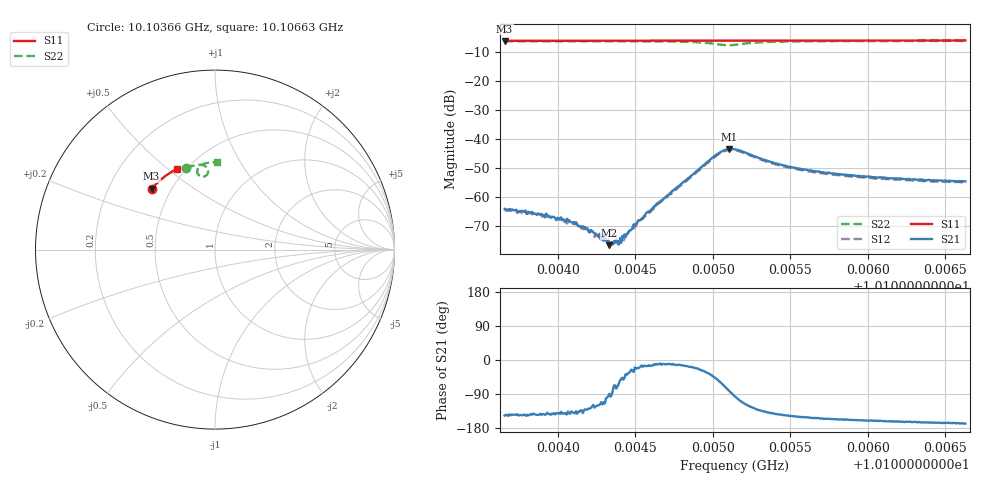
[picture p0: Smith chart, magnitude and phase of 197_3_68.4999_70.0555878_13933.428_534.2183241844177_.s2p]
#  HZ  S  RI  R  50.00
! Rohde & Schwarz Vector Network Analyzer
! Rohde-Schwarz,ZNB20-2Port,1311601062101988,3.16
! Created: UTC 3/20/2024, 5:12:36 PM
! freq[Hz]  re:S11  im:S11  re:S21  im:S21  re:S12  im:S12  re:S22  im:S22
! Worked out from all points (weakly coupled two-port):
!   401 points, 10.10366 GHz to 10.10663 GHz, reference 50 ohm
!   highest |S21| = -43.50 dB at 10.10511 GHz (marker M1); lowest = -76.8 dB at 10.10433 GHz (marker M2)
!   lowest |S11| = -6.2 dB at 10.10366 GHz (marker M3), VSWR 2.92, Z = 19.5 + j17.4 ohm
!   |S11| at or under -10 dB: nowhere
!   |S22| runs from -7.7 to -6.2 dB; largest |S21 - S12| = 0.0007
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1.0103657e10  -0.353 0.3395  -0.000517 -0.00034  -0.000439 -0.000371  -0.1599 0.4546
1.0103969e10  -0.3401 0.3537  -0.000358 -0.00027  -0.000313 -0.000295  -0.1395 0.462
1.0104073e10  -0.3357 0.3582  -0.000307 -0.000248  -0.000261 -0.000282  -0.1323 0.4642
1.0104154e10  -0.3324 0.3617  -0.000207 -0.000219  -0.000185 -0.000212  -0.1266 0.4658
1.0104214e10  -0.3296 0.3643  -0.000157 -0.000215  -0.000145 -0.000221  -0.1222 0.4672
1.0104251e10  -0.3281 0.3659  -0.000111 -0.000186  -8.31e-05 -0.000202  -0.1195 0.4678
1.0104311e10  -0.3255 0.3683  -3.47e-05 -0.000173  -1.77e-05 -0.000195  -0.1149 0.469
1.0104333e10  -0.3244 0.3695  1.76e-06 -0.000145  7.5e-06 -0.000159  -0.1132 0.4695
1.0104348e10  -0.3238 0.37  -5e-06 -0.00015  1.59e-05 -0.000165  -0.112 0.4695
1.010437e10  -0.3229 0.3709  6.38e-05 -0.000151  4.01e-05 -0.000175  -0.1103 0.47
1.0104407e10  -0.3213 0.3725  0.0001 -0.000124  0.000122 -0.000148  -0.1072 0.4708
1.0104415e10  -0.321 0.3728  0.000142 -0.000152  0.000118 -0.000125  -0.1066 0.4707
1.0104526e10  -0.3158 0.3773  0.000365 -0.000134  0.000356 -0.000106  -0.0969 0.4723
1.0104652e10  -0.3101 0.3825  0.000795 -0.000147  0.000776 -9.33e-05  -0.0847 0.4729
1.0105009e10  -0.2933 0.3963  0.00354 -0.00356  0.00369 -0.00304  -0.0385 0.4339
1.0105061e10  -0.291 0.3981  0.00272 -0.0055  0.00312 -0.00501  -0.048 0.414
1.0105106e10  -0.2889 0.3996  0.000963 -0.00661  0.00154 -0.00624  -0.0676 0.4056
1.0105143e10  -0.2876 0.401  -0.000736 -0.00655  -0.000121 -0.00635  -0.0844 0.4099
1.010541e10  -0.2748 0.4111  -0.00299 -0.00228  -0.00265 -0.00241  -0.0841 0.4659
1.0105641e10  -0.2631 0.4192  -0.00251 -0.00128  -0.00229 -0.00144  -0.062 0.4778
1.0106138e10  -0.2378 0.4353  -0.00197 -0.000653  -0.00185 -0.000791  -0.0233 0.486
1.0106629e10  -0.2119 0.4499  -0.00181 -0.000387  -0.00168 -0.000551  0.0106 0.4885
